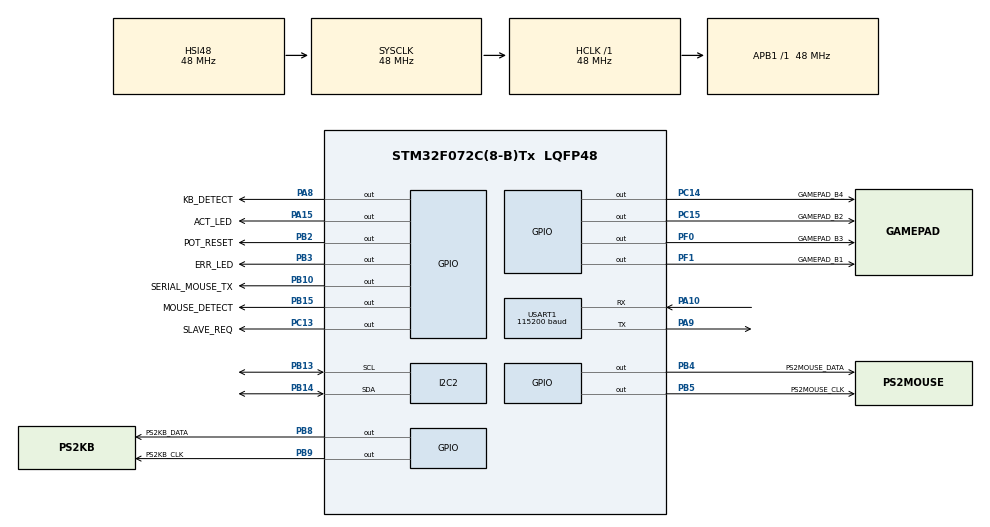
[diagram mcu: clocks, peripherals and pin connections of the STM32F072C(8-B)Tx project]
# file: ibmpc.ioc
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I2C2.Timing=0x20303E5D
Mcu.Family=STM32F0
Mcu.Name=STM32F072C(8-B)Tx
Mcu.Package=LQFP48
PA10.Mode=Asynchronous
PA10.Signal=USART1_RX
PA13.Mode=Serial_Wire
PA13.Signal=SYS_SWDIO
PA14.Mode=Serial_Wire
PA14.Signal=SYS_SWCLK
PA15.GPIO_Label=ACT_LED
PA15.Signal=GPIO_Output
PA8.GPIO_Label=KB_DETECT
PA8.Signal=GPIO_Output
PA9.Mode=Asynchronous
PA9.Signal=USART1_TX
PB10.GPIO_Label=SERIAL_MOUSE_TX
PB10.Signal=GPIO_Output
PB13.GPIO_PuPdOD=GPIO_NOPULL
PB13.Mode=I2C
PB13.Signal=I2C2_SCL
PB14.GPIO_PuPdOD=GPIO_NOPULL
PB14.Mode=I2C
PB14.Signal=I2C2_SDA
PB15.GPIO_Label=MOUSE_DETECT
PB15.GPIO_ModeDefaultOutputPP=GPIO_MODE_OUTPUT_PP
PB15.PinState=GPIO_PIN_RESET
PB15.Signal=GPIO_Output
PB2.GPIO_Label=POT_RESET
PB2.GPIO_ModeDefaultOutputPP=GPIO_MODE_OUTPUT_OD
PB2.PinState=GPIO_PIN_SET
PB2.Signal=GPIO_Output
PB3.GPIO_Label=ERR_LED
PB3.Signal=GPIO_Output
PB4.GPIO_Label=PS2MOUSE_DATA
PB4.GPIO_ModeDefaultOutputPP=GPIO_MODE_OUTPUT_PP
PB4.PinState=GPIO_PIN_RESET
PB4.Signal=GPIO_Output
PB5.GPIO_Label=PS2MOUSE_CLK
PB5.GPIO_ModeDefaultOutputPP=GPIO_MODE_OUTPUT_PP
PB5.PinState=GPIO_PIN_RESET
PB5.Signal=GPIO_Output
PB8.GPIO_Label=PS2KB_DATA
PB8.GPIO_ModeDefaultOutputPP=GPIO_MODE_OUTPUT_PP
PB8.PinState=GPIO_PIN_RESET
PB8.Signal=GPIO_Output
PB9.GPIO_Label=PS2KB_CLK
PB9.GPIO_ModeDefaultOutputPP=GPIO_MODE_OUTPUT_PP
PB9.PinState=GPIO_PIN_RESET
PB9.Signal=GPIO_Output
PC13.GPIO_Label=SLAVE_REQ
PC13.PinState=GPIO_PIN_RESET
PC13.Signal=GPIO_Output
PC14-OSC32_IN.GPIO_Label=GAMEPAD_B4
PC14-OSC32_IN.GPIO_ModeDefaultOutputPP=GPIO_MODE_OUTPUT_PP
PC14-OSC32_IN.PinState=GPIO_PIN_SET
PC14-OSC32_IN.Signal=GPIO_Output
PC15-OSC32_OUT.GPIO_Label=GAMEPAD_B2
PC15-OSC32_OUT.GPIO_ModeDefaultOutputPP=GPIO_MODE_OUTPUT_PP
PC15-OSC32_OUT.PinState=GPIO_PIN_SET
PC15-OSC32_OUT.Signal=GPIO_Output
PF0-OSC_IN.GPIO_Label=GAMEPAD_B3
PF0-OSC_IN.GPIO_ModeDefaultOutputPP=GPIO_MODE_OUTPUT_PP
PF0-OSC_IN.PinState=GPIO_PIN_SET
PF0-OSC_IN.Signal=GPIO_Output
PF1-OSC_OUT.GPIO_Label=GAMEPAD_B1
PF1-OSC_OUT.GPIO_ModeDefaultOutputPP=GPIO_MODE_OUTPUT_PP
PF1-OSC_OUT.PinState=GPIO_PIN_SET
PF1-OSC_OUT.Signal=GPIO_Output
ProjectManager.HeapSize=0x200
ProjectManager.StackSize=0x400
ProjectManager.TargetToolchain=MDK-ARM V5
RCC.AHBFreq_Value=48000000
RCC.APB1Freq_Value=48000000
RCC.APB1TimFreq_Value=48000000
RCC.HCLKFreq_Value=48000000
RCC.I2c1ClockSelection=RCC_I2C1CLKSOURCE_SYSCLK
RCC.SYSCLKFreq_VALUE=48000000
RCC.SYSCLKSource=RCC_SYSCLKSOURCE_HSI48
RCC.Usart1ClockSelection=RCC_USART1CLKSOURCE_SYSCLK
USART1.BaudRate=115200
USART1.VirtualMode-Asynchronous=VM_ASYNC
board=custom

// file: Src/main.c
/**
  ******************************************************************************
  * @file           : main.c
  * @brief          : Main program body
  ******************************************************************************
  ** This notice applies to any and all portions of this file
  * that are not between comment pairs USER CODE BEGIN and
  * USER CODE END. Other portions of this file, whether
  * inserted by the user or by software development tools
  * are owned by their respective copyright owners.
  *
  * COPYRIGHT(c) 2022 STMicroelectronics
  *
  * Redistribution and use in source and binary forms, with or without modification,
  * are permitted provided that the following conditions are met:
  *   1. Redistributions of source code must retain the above copyright notice,
  *      this list of conditions and the following disclaimer.
  *   2. Redistributions in binary form must reproduce the above copyright notice,
  *      this list of conditions and the following disclaimer in the documentation
  *      and/or other materials provided with the distribution.
  *   3. Neither the name of STMicroelectronics nor the names of its contributors
  *      may be used to endorse or promote products derived from this software
  *      without specific prior written permission.
  *
  * THIS SOFTWARE IS PROVIDED BY THE COPYRIGHT HOLDERS AND CONTRIBUTORS "AS IS"
  * AND ANY EXPRESS OR IMPLIED WARRANTIES, INCLUDING, BUT NOT LIMITED TO, THE
  * IMPLIED WARRANTIES OF MERCHANTABILITY AND FITNESS FOR A PARTICULAR PURPOSE ARE
  * DISCLAIMED. IN NO EVENT SHALL THE COPYRIGHT HOLDER OR CONTRIBUTORS BE LIABLE
  * FOR ANY DIRECT, INDIRECT, INCIDENTAL, SPECIAL, EXEMPLARY, OR CONSEQUENTIAL
  * DAMAGES (INCLUDING, BUT NOT LIMITED TO, PROCUREMENT OF SUBSTITUTE GOODS OR
  * SERVICES; LOSS OF USE, DATA, OR PROFITS; OR BUSINESS INTERRUPTION) HOWEVER
  * CAUSED AND ON ANY THEORY OF LIABILITY, WHETHER IN CONTRACT, STRICT LIABILITY,
  * OR TORT (INCLUDING NEGLIGENCE OR OTHERWISE) ARISING IN ANY WAY OUT OF THE USE
  * OF THIS SOFTWARE, EVEN IF ADVISED OF THE POSSIBILITY OF SUCH DAMAGE.
  *
  ******************************************************************************
  */
#include "main.h"
#include "stm32f0xx_hal.h"

/* USER CODE BEGIN Includes */
#include "shared.h"
#include <string.h>
#include "mcp4451.h"

/* USER CODE END Includes */

I2C_HandleTypeDef hi2c2;

UART_HandleTypeDef huart1;

/* USER CODE BEGIN PV */
/* Private variables ---------------------------------------------------------*/

/* USER CODE END PV */

void SystemClock_Config(void);
static void MX_GPIO_Init(void);
static void MX_I2C2_Init(void);
static void MX_USART1_UART_Init(void);

/* USER CODE BEGIN PFP */
/* Private function prototypes -----------------------------------------------*/

/* USER CODE END PFP */

/* USER CODE BEGIN 0 */
int fputc(int ch, FILE *f)
{
  HAL_UART_Transmit(&huart1, (unsigned char *)&ch, 1, 100);
  return ch;
}

/*
!!!!!!!!!!!!!!!!!!!!!! AFTER CODE RE-GENERATION
!!!!!!!!!!!!!!!!!!!!!! CHANGE THE FOLLOWING

huart3.Init.BaudRate = 1200;
if(flash_size != 64)
  huart3.Init.BaudRate = 2032;

huart1.Init.BaudRate = 115200;
if(flash_size != 64)
  huart1.Init.BaudRate = 195134;

huart3.Init.WordLength = UART_WORDLENGTH_7B;

!!!!!!!!!!!!!!!!!!!!!!
*/

void check_i2c_error(uint8_t result)
{
  if(result == 0)
    return;
  while(1)
  {
    HAL_GPIO_TogglePin(ERR_LED_GPIO_Port, ERR_LED_Pin);
    HAL_Delay(50);
  }
}

/* USER CODE END 0 */

int main(void)
{

  /* MCU Configuration----------------------------------------------------------*/

  /* Reset of all peripherals, Initializes the Flash interface and the Systick. */
  HAL_Init();

  /* Configure the system clock */
  SystemClock_Config();

  /* Initialize all configured peripherals */
  MX_GPIO_Init();
  MX_I2C2_Init();
  MX_USART1_UART_Init();
  /* USER CODE BEGIN 2 */
  printf("USB4VC IBM PC Tester\n");

  mcp4451_reset();
  HAL_Delay(1);
  check_i2c_error(!mcp4451_is_available());
  /* USER CODE END 2 */

  /* Infinite loop */
  /* USER CODE BEGIN WHILE */
  uint8_t count = 0;
  uint8_t pot_value;
  HAL_GPIO_TogglePin(GAMEPAD_B4_GPIO_Port, GAMEPAD_B4_Pin);
  HAL_GPIO_TogglePin(GAMEPAD_B2_GPIO_Port, GAMEPAD_B2_Pin);
  HAL_GPIO_TogglePin(GAMEPAD_B3_GPIO_Port, GAMEPAD_B3_Pin);
  HAL_GPIO_TogglePin(GAMEPAD_B1_GPIO_Port, GAMEPAD_B1_Pin);
  while (1)
  {
  /* USER CODE END WHILE */

  /* USER CODE BEGIN 3 */
    HAL_GPIO_TogglePin(SLAVE_REQ_GPIO_Port, SLAVE_REQ_Pin);
    HAL_GPIO_TogglePin(GAMEPAD_B4_GPIO_Port, GAMEPAD_B4_Pin);
    HAL_GPIO_TogglePin(GAMEPAD_B2_GPIO_Port, GAMEPAD_B2_Pin);
    HAL_GPIO_TogglePin(GAMEPAD_B3_GPIO_Port, GAMEPAD_B3_Pin);
    HAL_GPIO_TogglePin(GAMEPAD_B1_GPIO_Port, GAMEPAD_B1_Pin);
    HAL_GPIO_TogglePin(MOUSE_DETECT_GPIO_Port, MOUSE_DETECT_Pin);
    HAL_GPIO_TogglePin(KB_DETECT_GPIO_Port, KB_DETECT_Pin);
    HAL_GPIO_TogglePin(ACT_LED_GPIO_Port, ACT_LED_Pin);
    HAL_GPIO_TogglePin(ERR_LED_GPIO_Port, ERR_LED_Pin);
    HAL_GPIO_TogglePin(PS2MOUSE_DATA_GPIO_Port, PS2MOUSE_DATA_Pin);
    HAL_GPIO_TogglePin(PS2MOUSE_CLK_GPIO_Port, PS2MOUSE_CLK_Pin);
    HAL_GPIO_TogglePin(PS2KB_DATA_GPIO_Port, PS2KB_DATA_Pin);
    HAL_GPIO_TogglePin(PS2KB_CLK_GPIO_Port, PS2KB_CLK_Pin);
    HAL_GPIO_TogglePin(SERIAL_MOUSE_TX_GPIO_Port, SERIAL_MOUSE_TX_Pin);
    count = (count+1) % 2;
    if(count)
      pot_value = 250; // 2KOhm
    else
      pot_value = 1; // max

    check_i2c_error(mcp4451_write_wiper(3, pot_value));
    check_i2c_error(mcp4451_write_wiper(0, pot_value));
    check_i2c_error(mcp4451_write_wiper(2, pot_value));
    check_i2c_error(mcp4451_write_wiper(1, pot_value));

    HAL_Delay(250);
  }
  /* USER CODE END 3 */

}

void SystemClock_Config(void)
{

  RCC_OscInitTypeDef RCC_OscInitStruct;
  RCC_ClkInitTypeDef RCC_ClkInitStruct;
  RCC_PeriphCLKInitTypeDef PeriphClkInit;

    /**Initializes the CPU, AHB and APB busses clocks
    */
  RCC_OscInitStruct.OscillatorType = RCC_OSCILLATORTYPE_HSI48;
  RCC_OscInitStruct.HSI48State = RCC_HSI48_ON;
  RCC_OscInitStruct.PLL.PLLState = RCC_PLL_NONE;
  if (HAL_RCC_OscConfig(&RCC_OscInitStruct) != HAL_OK)
  {
    _Error_Handler(__FILE__, __LINE__);
  }

    /**Initializes the CPU, AHB and APB busses clocks
    */
  RCC_ClkInitStruct.ClockType = RCC_CLOCKTYPE_HCLK|RCC_CLOCKTYPE_SYSCLK
                              |RCC_CLOCKTYPE_PCLK1;
  RCC_ClkInitStruct.SYSCLKSource = RCC_SYSCLKSOURCE_HSI48;
  RCC_ClkInitStruct.AHBCLKDivider = RCC_SYSCLK_DIV1;
  RCC_ClkInitStruct.APB1CLKDivider = RCC_HCLK_DIV1;

  if (HAL_RCC_ClockConfig(&RCC_ClkInitStruct, FLASH_LATENCY_1) != HAL_OK)
  {
    _Error_Handler(__FILE__, __LINE__);
  }

  PeriphClkInit.PeriphClockSelection = RCC_PERIPHCLK_USART1;
  PeriphClkInit.Usart1ClockSelection = RCC_USART1CLKSOURCE_SYSCLK;
  if (HAL_RCCEx_PeriphCLKConfig(&PeriphClkInit) != HAL_OK)
  {
    _Error_Handler(__FILE__, __LINE__);
  }

    /**Configure the Systick interrupt time
    */
  HAL_SYSTICK_Config(HAL_RCC_GetHCLKFreq()/1000);

    /**Configure the Systick
    */
  HAL_SYSTICK_CLKSourceConfig(SYSTICK_CLKSOURCE_HCLK);

  /* SysTick_IRQn interrupt configuration */
  HAL_NVIC_SetPriority(SysTick_IRQn, 0, 0);
}

/* I2C2 init function */
static void MX_I2C2_Init(void)
{

  hi2c2.Instance = I2C2;
  hi2c2.Init.Timing = 0x20303E5D;
  hi2c2.Init.OwnAddress1 = 0;
  hi2c2.Init.AddressingMode = I2C_ADDRESSINGMODE_7BIT;
  hi2c2.Init.DualAddressMode = I2C_DUALADDRESS_DISABLE;
  hi2c2.Init.OwnAddress2 = 0;
  hi2c2.Init.OwnAddress2Masks = I2C_OA2_NOMASK;
  hi2c2.Init.GeneralCallMode = I2C_GENERALCALL_DISABLE;
  hi2c2.Init.NoStretchMode = I2C_NOSTRETCH_DISABLE;
  if (HAL_I2C_Init(&hi2c2) != HAL_OK)
  {
    _Error_Handler(__FILE__, __LINE__);
  }

    /**Configure Analogue filter
    */
  if (HAL_I2CEx_ConfigAnalogFilter(&hi2c2, I2C_ANALOGFILTER_ENABLE) != HAL_OK)
  {
    _Error_Handler(__FILE__, __LINE__);
  }

    /**Configure Digital filter
    */
  if (HAL_I2CEx_ConfigDigitalFilter(&hi2c2, 0) != HAL_OK)
  {
    _Error_Handler(__FILE__, __LINE__);
  }

}

/* USART1 init function */
static void MX_USART1_UART_Init(void)
{

  huart1.Instance = USART1;
  huart1.Init.BaudRate = 115200;
  huart1.Init.WordLength = UART_WORDLENGTH_8B;
  huart1.Init.StopBits = UART_STOPBITS_1;
  huart1.Init.Parity = UART_PARITY_NONE;
  huart1.Init.Mode = UART_MODE_TX_RX;
  huart1.Init.HwFlowCtl = UART_HWCONTROL_NONE;
  huart1.Init.OverSampling = UART_OVERSAMPLING_16;
  huart1.Init.OneBitSampling = UART_ONE_BIT_SAMPLE_DISABLE;
  huart1.AdvancedInit.AdvFeatureInit = UART_ADVFEATURE_NO_INIT;
  if (HAL_UART_Init(&huart1) != HAL_OK)
  {
    _Error_Handler(__FILE__, __LINE__);
  }

}

/** Configure pins as
        * Analog
        * Input
        * Output
        * EVENT_OUT
        * EXTI
*/
static void MX_GPIO_Init(void)
{

  GPIO_InitTypeDef GPIO_InitStruct;

  /* GPIO Ports Clock Enable */
  __HAL_RCC_GPIOC_CLK_ENABLE();
  __HAL_RCC_GPIOF_CLK_ENABLE();
  __HAL_RCC_GPIOB_CLK_ENABLE();
  __HAL_RCC_GPIOA_CLK_ENABLE();

  /*Configure GPIO pin Output Level */
  HAL_GPIO_WritePin(SLAVE_REQ_GPIO_Port, SLAVE_REQ_Pin, GPIO_PIN_RESET);

  /*Configure GPIO pin Output Level */
  HAL_GPIO_WritePin(GPIOC, GAMEPAD_B4_Pin|GAMEPAD_B2_Pin, GPIO_PIN_SET);

  /*Configure GPIO pin Output Level */
  HAL_GPIO_WritePin(GPIOF, GAMEPAD_B3_Pin|GAMEPAD_B1_Pin, GPIO_PIN_SET);

  /*Configure GPIO pin Output Level */
  HAL_GPIO_WritePin(POT_RESET_GPIO_Port, POT_RESET_Pin, GPIO_PIN_SET);

  /*Configure GPIO pin Output Level */
  HAL_GPIO_WritePin(GPIOB, SERIAL_MOUSE_TX_Pin|MOUSE_DETECT_Pin|ERR_LED_Pin|PS2MOUSE_DATA_Pin
                          |PS2MOUSE_CLK_Pin|PS2KB_DATA_Pin|PS2KB_CLK_Pin, GPIO_PIN_RESET);

  /*Configure GPIO pin Output Level */
  HAL_GPIO_WritePin(GPIOA, KB_DETECT_Pin|ACT_LED_Pin, GPIO_PIN_RESET);

  /*Configure GPIO pins : SLAVE_REQ_Pin GAMEPAD_B4_Pin GAMEPAD_B2_Pin */
  GPIO_InitStruct.Pin = SLAVE_REQ_Pin|GAMEPAD_B4_Pin|GAMEPAD_B2_Pin;
  GPIO_InitStruct.Mode = GPIO_MODE_OUTPUT_PP;
  GPIO_InitStruct.Pull = GPIO_NOPULL;
  GPIO_InitStruct.Speed = GPIO_SPEED_FREQ_LOW;
  HAL_GPIO_Init(GPIOC, &GPIO_InitStruct);

  /*Configure GPIO pins : GAMEPAD_B3_Pin GAMEPAD_B1_Pin */
  GPIO_InitStruct.Pin = GAMEPAD_B3_Pin|GAMEPAD_B1_Pin;
  GPIO_InitStruct.Mode = GPIO_MODE_OUTPUT_PP;
  GPIO_InitStruct.Pull = GPIO_NOPULL;
  GPIO_InitStruct.Speed = GPIO_SPEED_FREQ_LOW;
  HAL_GPIO_Init(GPIOF, &GPIO_InitStruct);

  /*Configure GPIO pin : POT_RESET_Pin */
  GPIO_InitStruct.Pin = POT_RESET_Pin;
  GPIO_InitStruct.Mode = GPIO_MODE_OUTPUT_OD;
  GPIO_InitStruct.Pull = GPIO_NOPULL;
  GPIO_InitStruct.Speed = GPIO_SPEED_FREQ_LOW;
  HAL_GPIO_Init(POT_RESET_GPIO_Port, &GPIO_InitStruct);

  /*Configure GPIO pins : SERIAL_MOUSE_TX_Pin MOUSE_DETECT_Pin ERR_LED_Pin PS2MOUSE_DATA_Pin
                           PS2MOUSE_CLK_Pin PS2KB_DATA_Pin PS2KB_CLK_Pin */
  GPIO_InitStruct.Pin = SERIAL_MOUSE_TX_Pin|MOUSE_DETECT_Pin|ERR_LED_Pin|PS2MOUSE_DATA_Pin
                          |PS2MOUSE_CLK_Pin|PS2KB_DATA_Pin|PS2KB_CLK_Pin;
  GPIO_InitStruct.Mode = GPIO_MODE_OUTPUT_PP;
  GPIO_InitStruct.Pull = GPIO_NOPULL;
  GPIO_InitStruct.Speed = GPIO_SPEED_FREQ_LOW;
  HAL_GPIO_Init(GPIOB, &GPIO_InitStruct);

  /*Configure GPIO pins : KB_DETECT_Pin ACT_LED_Pin */
  GPIO_InitStruct.Pin = KB_DETECT_Pin|ACT_LED_Pin;
  GPIO_InitStruct.Mode = GPIO_MODE_OUTPUT_PP;
  GPIO_InitStruct.Pull = GPIO_NOPULL;
  GPIO_InitStruct.Speed = GPIO_SPEED_FREQ_LOW;
  HAL_GPIO_Init(GPIOA, &GPIO_InitStruct);

}

void _Error_Handler(char *file, int line)
{
  while(1)
  {
  }
}

/************************ (C) COPYRIGHT STMicroelectronics *****END OF FILE****/
